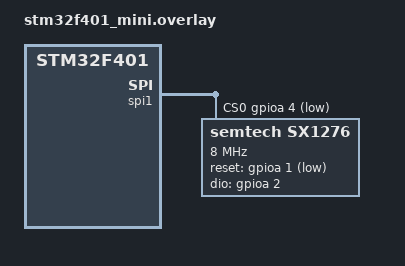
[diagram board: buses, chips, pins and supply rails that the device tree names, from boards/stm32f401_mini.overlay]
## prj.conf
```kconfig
# LoRa subsystem
CONFIG_LORA=y

# Try using LoRaMAC-node backend like LoRa E5
CONFIG_LORA_MODULE_BACKEND_LORAMAC_NODE=y

# SPI + GPIO
CONFIG_SPI=y
CONFIG_GPIO=y

# Logging
CONFIG_LOG=y
CONFIG_LOG_DEFAULT_LEVEL=3
CONFIG_CONSOLE=y
CONFIG_UART_CONSOLE=y

# RTT
CONFIG_USE_SEGGER_RTT=y
CONFIG_RTT_CONSOLE=y
```

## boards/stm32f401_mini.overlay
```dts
/ {
    aliases {
        lora0 = &sx1276;
    };
};

&spi1 {
    status = "okay";

    cs-gpios = <&gpioa 4 GPIO_ACTIVE_LOW>;

    sx1276: sx1276@0 {
        compatible = "semtech,sx1276";
        reg = <0>;

        spi-max-frequency = <8000000>;

        reset-gpios = <&gpioa 1 GPIO_ACTIVE_LOW>;
        dio-gpios   = <&gpioa 2 GPIO_ACTIVE_HIGH>;

        power-amplifier-output = "pa-boost";

        status = "okay";
    };
};
```

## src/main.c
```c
#include <zephyr/device.h>
#include <zephyr/drivers/lora.h>
#include <zephyr/kernel.h>
#include <zephyr/sys/printk.h>

#define MAX_DATA_LEN 255

static uint8_t rx_buffer[MAX_DATA_LEN];

// Correct callback signature with user_data pointer
static void rx_callback(const struct device *dev,
                       uint8_t *data, uint16_t size,
                       int16_t rssi, int8_t snr,
                       void *user_data)
{
    printk("\n*** CALLBACK! ***\n");
    printk("Size: %d, RSSI: %d, SNR: %d\n", size, rssi, snr);
    
    if (size > 0 && size < MAX_DATA_LEN) {
        printk("Data: ");
        for (int i = 0; i < size; i++) {
            printk("%02x ", data[i]);
        }
        printk("\nString: \"");
        for (int i = 0; i < size; i++) {
            printk("%c", (data[i] >= 32 && data[i] <= 126) ? data[i] : '.');
        }
        printk("\"\n");
    }
    printk("*****************\n\n");
}

void main(void)
{
    const struct device *dev = DEVICE_DT_GET(DT_ALIAS(lora0));
    int ret;

    printk("\n=== SX1276 RX - Async Mode ===\n");

    if (!device_is_ready(dev)) {
        printk("Device not ready!\n");
        return;
    }

    struct lora_modem_config cfg = {
        .frequency = 868100000,
        .bandwidth = BW_125_KHZ,
        .datarate = SF_7,
        .coding_rate = CR_4_5,
        .preamble_len = 8,
        .tx_power = 14,
        .tx = false,
    };

    ret = lora_config(dev, &cfg);
    printk("Config: %d\n", ret);
    printk("RX: 868.1MHz SF7 BW125 CR4/5\n\n");
    
    // Try async receive with user_data = NULL
    printk("Trying async RX...\n");
    ret = lora_recv_async(dev, rx_callback, NULL);
    if (ret == 0) {
        printk("Async RX started!\n");
        printk("Waiting for packets...\n\n");
        
        // Keep alive
        while (1) {
            k_sleep(K_SECONDS(5));
            printk(".\n");
        }
    } else {
        printk("Async not supported (ret=%d)\n", ret);
        printk("Using blocking mode...\n\n");
        
        // Blocking fallback
        int16_t rssi;
        int8_t snr;
        int len;
        int count = 0;
        
        while (1) {
            len = lora_recv(dev, rx_buffer, MAX_DATA_LEN, K_SECONDS(5), &rssi, &snr);
            
            if (len >= 0) {
                printk("\n*** RX! ***\n");
                printk("Len=%d RSSI=%d SNR=%d\n", len, rssi, snr);
                if (len > 0) {
                    printk("Hex: ");
                    for (int i = 0; i < len; i++) {
                        printk("%02x ", rx_buffer[i]);
                    }
                    printk("\nStr: \"");
                    for (int i = 0; i < len; i++) {
                        printk("%c", (rx_buffer[i] >= 32 && rx_buffer[i] <= 126) ? rx_buffer[i] : '.');
                    }
                    printk("\"\n");
                }
                printk("***********\n\n");
                count = 0;
            } else if (len == -EAGAIN) {
                count++;
                if (count % 20 == 0) {
                    printk("[%d timeouts]\n", count);
                }
            } else {
                printk("Error: %d\n", len);
            }
        }
    }
}
```
